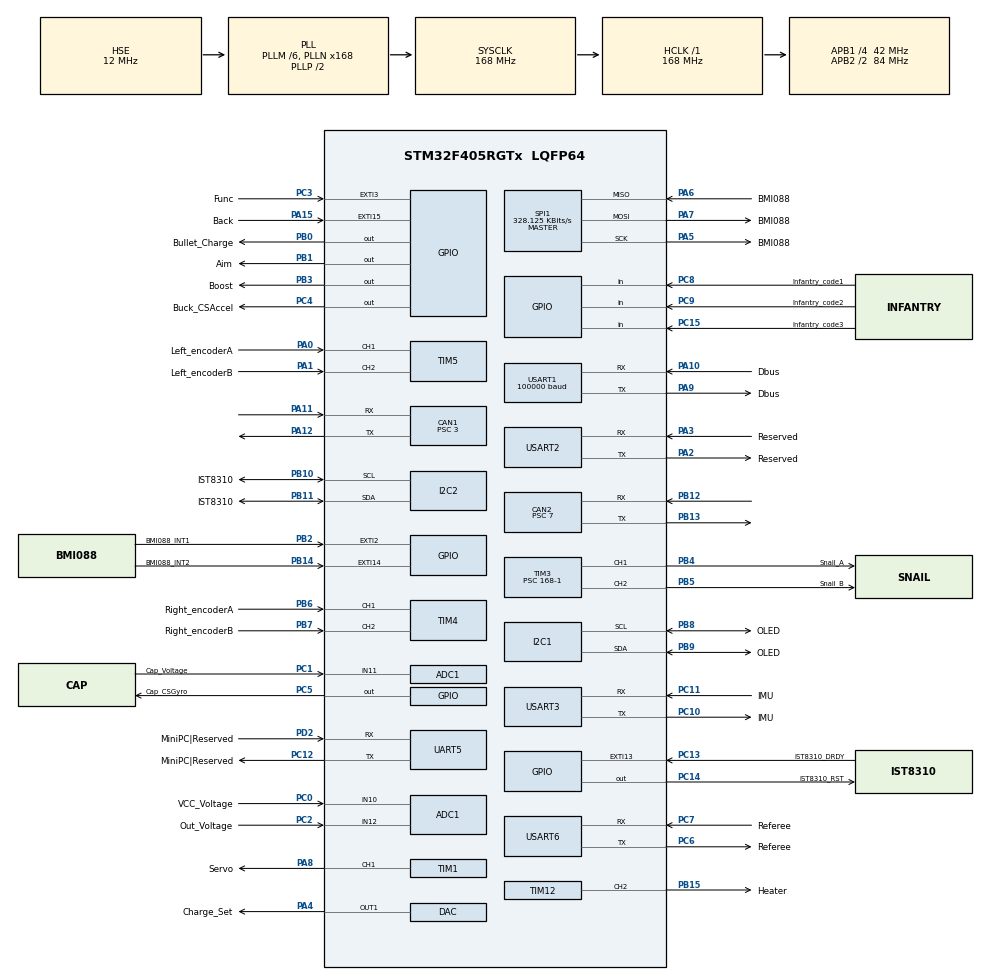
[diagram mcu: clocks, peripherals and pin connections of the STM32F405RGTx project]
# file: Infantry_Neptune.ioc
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ADC1.Channel-2\#ChannelRegularConversion=ADC_CHANNEL_10
ADC1.Channel-3\#ChannelRegularConversion=ADC_CHANNEL_11
ADC1.Channel-4\#ChannelRegularConversion=ADC_CHANNEL_12
ADC1.ContinuousConvMode=ENABLE
ADC1.DMAContinuousRequests=ENABLE
ADC1.DiscontinuousConvMode=DISABLE
ADC1.EOCSelection=ADC_EOC_SEQ_CONV
ADC1.InjNumberOfConversion=0
ADC1.NbrOfConversion=3
ADC1.NbrOfConversionFlag=1
ADC1.Rank-2\#ChannelRegularConversion=1
ADC1.Rank-3\#ChannelRegularConversion=2
ADC1.Rank-4\#ChannelRegularConversion=3
ADC1.SamplingTime-2\#ChannelRegularConversion=ADC_SAMPLETIME_15CYCLES
ADC1.SamplingTime-3\#ChannelRegularConversion=ADC_SAMPLETIME_15CYCLES
ADC1.SamplingTime-4\#ChannelRegularConversion=ADC_SAMPLETIME_15CYCLES
ADC1.ScanConvMode=ENABLE
ADC1.master=1
CAN1.BS1=CAN_BS1_9TQ
CAN1.BS2=CAN_BS2_4TQ
CAN1.CalculateBaudRate=1000000
CAN1.CalculateTimeBit=999.99
CAN1.CalculateTimeQuantum=71.42857142857143
CAN1.Prescaler=3
CAN2.BS1=CAN_BS1_3TQ
CAN2.BS2=CAN_BS2_2TQ
CAN2.CalculateBaudRate=1000000
CAN2.CalculateTimeBit=999.99
CAN2.CalculateTimeQuantum=166.66666666666669
CAN2.Prescaler=7
Dma.ADC1.4.Direction=DMA_PERIPH_TO_MEMORY
Dma.ADC1.4.FIFOMode=DMA_FIFOMODE_DISABLE
Dma.ADC1.4.Instance=DMA2_Stream4
Dma.ADC1.4.MemDataAlignment=DMA_MDATAALIGN_WORD
Dma.ADC1.4.MemInc=DMA_MINC_ENABLE
Dma.ADC1.4.Mode=DMA_NORMAL
Dma.ADC1.4.PeriphDataAlignment=DMA_PDATAALIGN_WORD
Dma.ADC1.4.PeriphInc=DMA_PINC_DISABLE
Dma.ADC1.4.Priority=DMA_PRIORITY_LOW
Dma.Request0=USART1_RX
Dma.Request1=USART2_RX
Dma.Request2=USART3_RX
Dma.Request3=USART6_RX
Dma.Request4=ADC1
Dma.Request5=SPI1_RX
Dma.Request6=SPI1_TX
Dma.Request7=UART5_RX
Dma.SPI1_RX.5.Direction=DMA_PERIPH_TO_MEMORY
Dma.SPI1_RX.5.FIFOMode=DMA_FIFOMODE_DISABLE
Dma.SPI1_RX.5.Instance=DMA2_Stream0
Dma.SPI1_RX.5.MemDataAlignment=DMA_MDATAALIGN_BYTE
Dma.SPI1_RX.5.MemInc=DMA_MINC_ENABLE
Dma.SPI1_RX.5.Mode=DMA_NORMAL
Dma.SPI1_RX.5.PeriphDataAlignment=DMA_PDATAALIGN_BYTE
Dma.SPI1_RX.5.PeriphInc=DMA_PINC_DISABLE
Dma.SPI1_RX.5.Priority=DMA_PRIORITY_VERY_HIGH
Dma.SPI1_TX.6.Direction=DMA_MEMORY_TO_PERIPH
Dma.SPI1_TX.6.FIFOMode=DMA_FIFOMODE_DISABLE
Dma.SPI1_TX.6.Instance=DMA2_Stream3
Dma.SPI1_TX.6.MemDataAlignment=DMA_MDATAALIGN_BYTE
Dma.SPI1_TX.6.MemInc=DMA_MINC_ENABLE
Dma.SPI1_TX.6.Mode=DMA_NORMAL
Dma.SPI1_TX.6.PeriphDataAlignment=DMA_PDATAALIGN_BYTE
Dma.SPI1_TX.6.PeriphInc=DMA_PINC_DISABLE
Dma.SPI1_TX.6.Priority=DMA_PRIORITY_LOW
Dma.UART5_RX.7.Direction=DMA_PERIPH_TO_MEMORY
Dma.UART5_RX.7.FIFOMode=DMA_FIFOMODE_DISABLE
Dma.UART5_RX.7.Instance=DMA1_Stream0
Dma.UART5_RX.7.MemDataAlignment=DMA_MDATAALIGN_BYTE
Dma.UART5_RX.7.MemInc=DMA_MINC_ENABLE
Dma.UART5_RX.7.Mode=DMA_CIRCULAR
Dma.UART5_RX.7.PeriphDataAlignment=DMA_PDATAALIGN_BYTE
Dma.UART5_RX.7.PeriphInc=DMA_PINC_DISABLE
Dma.UART5_RX.7.Priority=DMA_PRIORITY_LOW
Dma.USART1_RX.0.Direction=DMA_PERIPH_TO_MEMORY
Dma.USART1_RX.0.FIFOMode=DMA_FIFOMODE_DISABLE
Dma.USART1_RX.0.Instance=DMA2_Stream2
Dma.USART1_RX.0.MemDataAlignment=DMA_MDATAALIGN_BYTE
Dma.USART1_RX.0.MemInc=DMA_MINC_ENABLE
Dma.USART1_RX.0.Mode=DMA_CIRCULAR
Dma.USART1_RX.0.PeriphDataAlignment=DMA_PDATAALIGN_BYTE
Dma.USART1_RX.0.PeriphInc=DMA_PINC_DISABLE
Dma.USART1_RX.0.Priority=DMA_PRIORITY_LOW
Dma.USART2_RX.1.Direction=DMA_PERIPH_TO_MEMORY
Dma.USART2_RX.1.FIFOMode=DMA_FIFOMODE_DISABLE
Dma.USART2_RX.1.Instance=DMA1_Stream5
Dma.USART2_RX.1.MemDataAlignment=DMA_MDATAALIGN_BYTE
Dma.USART2_RX.1.MemInc=DMA_MINC_ENABLE
Dma.USART2_RX.1.Mode=DMA_CIRCULAR
Dma.USART2_RX.1.PeriphDataAlignment=DMA_PDATAALIGN_BYTE
Dma.USART2_RX.1.PeriphInc=DMA_PINC_DISABLE
Dma.USART2_RX.1.Priority=DMA_PRIORITY_LOW
Dma.USART3_RX.2.Direction=DMA_PERIPH_TO_MEMORY
Dma.USART3_RX.2.FIFOMode=DMA_FIFOMODE_DISABLE
Dma.USART3_RX.2.Instance=DMA1_Stream1
Dma.USART3_RX.2.MemDataAlignment=DMA_MDATAALIGN_BYTE
Dma.USART3_RX.2.MemInc=DMA_MINC_ENABLE
Dma.USART3_RX.2.Mode=DMA_CIRCULAR
Dma.USART3_RX.2.PeriphDataAlignment=DMA_PDATAALIGN_BYTE
Dma.USART3_RX.2.PeriphInc=DMA_PINC_DISABLE
Dma.USART3_RX.2.Priority=DMA_PRIORITY_LOW
Dma.USART6_RX.3.Direction=DMA_PERIPH_TO_MEMORY
Dma.USART6_RX.3.FIFOMode=DMA_FIFOMODE_DISABLE
Dma.USART6_RX.3.Instance=DMA2_Stream1
Dma.USART6_RX.3.MemDataAlignment=DMA_MDATAALIGN_BYTE
Dma.USART6_RX.3.MemInc=DMA_MINC_ENABLE
Dma.USART6_RX.3.Mode=DMA_CIRCULAR
Dma.USART6_RX.3.PeriphDataAlignment=DMA_PDATAALIGN_BYTE
Dma.USART6_RX.3.PeriphInc=DMA_PINC_DISABLE
Dma.USART6_RX.3.Priority=DMA_PRIORITY_LOW
FREERTOS.INCLUDE_eTaskGetState=1
FREERTOS.INCLUDE_pcTaskGetTaskName=1
FREERTOS.INCLUDE_uxTaskGetStackHighWaterMark=1
FREERTOS.INCLUDE_uxTaskGetStackHighWaterMark2=1
FREERTOS.INCLUDE_vTaskCleanUpResources=1
FREERTOS.INCLUDE_vTaskDelayUntil=1
FREERTOS.INCLUDE_xQueueGetMutexHolder=1
FREERTOS.INCLUDE_xSemaphoreGetMutexHolder=1
FREERTOS.INCLUDE_xTaskAbortDelay=1
FREERTOS.INCLUDE_xTaskGetCurrentTaskHandle=1
FREERTOS.INCLUDE_xTaskGetHandle=1
FREERTOS.Queues01=Key_Queue,16,uint16_t,0,Dynamic,NULL,NULL
FREERTOS.Tasks01=defaultTask,-3,128,StartDefaultTask,Default,NULL,Dynamic,NULL,NULL;Gimbal,2,128,Gimbal_Task,As weak,NULL,Dynamic,NULL,NULL;BusComm,3,128,BusComm_Task,As weak,NULL,Dynamic,NULL,NULL;Chassis,2,128,Chassis_Task,As weak,NULL,Dynamic,NULL,NULL;SuperCap,2,128,SuperCap_Task,As weak,NULL,Dynamic,NULL,NULL;Shoot,2,128,Shoot_Task,As weak,NULL,Dynamic,NULL,NULL;MiniPC,0,128,MiniPC_Task,As weak,NULL,Dynamic,NULL,NULL;Referee,2,128,Referee_Task,As weak,NULL,Dynamic,NULL,NULL;WatchDog,0,128,WatchDog_Task,As weak,NULL,Dynamic,NULL,NULL;Client,0,128,Client_Task,As weak,NULL,Dynamic,NULL,NULL;Ins,0,128,Ins_Task,As weak,NULL,Dynamic,NULL,NULL;Init,3,128,Init_Task,As weak,NULL,Dynamic,NULL,NULL
FREERTOS.configENABLE_FPU=1
I2C1.I2C_Mode=I2C_Fast
I2C2.I2C_Mode=I2C_Fast
Mcu.Family=STM32F4
Mcu.Name=STM32F405RGTx
Mcu.Package=LQFP64
NVIC.CAN1_RX0_IRQn=true\:5\:0\:false\:false\:true\:true\:true\:true
NVIC.CAN2_RX0_IRQn=true\:5\:0\:false\:false\:true\:true\:true\:true
NVIC.DMA1_Stream0_IRQn=true\:5\:0\:false\:false\:true\:true\:false\:true
NVIC.DMA1_Stream1_IRQn=true\:5\:0\:false\:false\:true\:true\:false\:true
NVIC.DMA1_Stream5_IRQn=true\:5\:0\:false\:false\:true\:true\:false\:true
NVIC.DMA2_Stream0_IRQn=true\:5\:0\:false\:false\:true\:true\:false\:true
NVIC.DMA2_Stream1_IRQn=true\:5\:0\:false\:false\:true\:true\:false\:true
NVIC.DMA2_Stream2_IRQn=true\:5\:0\:false\:false\:true\:true\:false\:true
NVIC.DMA2_Stream3_IRQn=true\:5\:0\:false\:false\:true\:true\:false\:true
NVIC.DMA2_Stream4_IRQn=true\:5\:0\:false\:false\:true\:true\:false\:true
NVIC.EXTI15_10_IRQn=true\:5\:0\:false\:false\:true\:true\:true\:true
NVIC.EXTI2_IRQn=true\:5\:0\:false\:false\:true\:true\:true\:true
NVIC.EXTI3_IRQn=true\:5\:0\:false\:false\:true\:true\:true\:true
NVIC.PriorityGroup=NVIC_PRIORITYGROUP_4
NVIC.TIM7_IRQn=true\:0\:0\:false\:false\:true\:false\:false\:true
NVIC.TimeBase=TIM7_IRQn
NVIC.TimeBaseIP=TIM7
NVIC.UART5_IRQn=true\:5\:0\:false\:false\:true\:true\:true\:true
NVIC.USART1_IRQn=true\:5\:0\:false\:false\:true\:true\:true\:true
NVIC.USART2_IRQn=true\:5\:0\:false\:false\:true\:true\:true\:true
NVIC.USART3_IRQn=true\:5\:0\:false\:false\:true\:true\:true\:true
NVIC.USART6_IRQn=true\:5\:0\:false\:false\:true\:true\:true\:true
PA0-WKUP.GPIO_Label=Left_encoderA
PA0-WKUP.Signal=S_TIM5_CH1
PA1.GPIO_Label=Left_encoderB
PA1.Signal=S_TIM5_CH2
PA10.GPIO_Label=Dbus
PA10.Mode=Asynchronous
PA10.Signal=USART1_RX
PA11.Mode=CAN_Activate
PA11.Signal=CAN1_RX
PA12.Mode=CAN_Activate
PA12.Signal=CAN1_TX
PA13.Mode=Serial_Wire
PA13.Signal=SYS_JTMS-SWDIO
PA14.Mode=Serial_Wire
PA14.Signal=SYS_JTCK-SWCLK
PA15.GPIO_Label=Back
PA15.GPIO_ModeDefaultEXTI=GPIO_MODE_IT_RISING_FALLING
PA15.GPIO_PuPd=GPIO_NOPULL
PA15.Signal=GPXTI15
PA2.GPIO_Label=Reserved
PA2.Mode=Asynchronous
PA2.Signal=USART2_TX
PA3.GPIO_Label=Reserved
PA3.Mode=Asynchronous
PA3.Signal=USART2_RX
PA4.GPIO_Label=Charge_Set
PA4.Signal=COMP_DAC1_group
PA5.GPIO_Label=BMI088
PA5.GPIO_PuPd=GPIO_PULLUP
PA5.Mode=Full_Duplex_Master
PA5.Signal=SPI1_SCK
PA6.GPIO_Label=BMI088
PA6.GPIO_PuPd=GPIO_PULLUP
PA6.Mode=Full_Duplex_Master
PA6.Signal=SPI1_MISO
PA7.GPIO_Label=BMI088
PA7.GPIO_PuPd=GPIO_PULLUP
PA7.Mode=Full_Duplex_Master
PA7.Signal=SPI1_MOSI
PA8.GPIO_Label=Servo
PA8.Signal=S_TIM1_CH1
PA9.GPIO_Label=Dbus
PA9.Mode=Asynchronous
PA9.Signal=USART1_TX
PB0.GPIO_Label=Bullet_Charge
PB0.GPIO_Speed=GPIO_SPEED_FREQ_LOW
PB0.PinState=GPIO_PIN_RESET
PB0.Signal=GPIO_Output
PB1.GPIO_Label=Aim
PB1.Signal=GPIO_Output
PB10.GPIO_Label=IST8310
PB10.Mode=I2C
PB10.Signal=I2C2_SCL
PB11.GPIO_Label=IST8310
PB11.Mode=I2C
PB11.Signal=I2C2_SDA
PB12.Mode=CAN_Activate
PB12.Signal=CAN2_RX
PB13.Mode=CAN_Activate
PB13.Signal=CAN2_TX
PB14.GPIO_Label=BMI088_INT2
PB14.GPIO_ModeDefaultEXTI=GPIO_MODE_IT_RISING
PB14.Signal=GPXTI14
PB15.GPIO_Label=Heater
PB15.Signal=S_TIM12_CH2
PB2.GPIO_Label=BMI088_INT1
PB2.Signal=GPXTI2
PB3.GPIO_Label=Boost
PB3.Signal=GPIO_Output
PB4.GPIO_Label=Snail_A
PB4.Signal=S_TIM3_CH1
PB5.GPIO_Label=Snail_B
PB5.Signal=S_TIM3_CH2
PB6.GPIO_Label=Right_encoderA
PB6.Signal=S_TIM4_CH1
PB7.GPIO_Label=Right_encoderB
PB7.Signal=S_TIM4_CH2
PB8.GPIO_Label=OLED
PB8.Mode=I2C
PB8.Signal=I2C1_SCL
PB9.GPIO_Label=OLED
PB9.Mode=I2C
PB9.Signal=I2C1_SDA
PC0.GPIO_Label=VCC_Voltage
PC0.Signal=ADCx_IN10
PC1.GPIO_Label=Cap_Voltage
PC1.Signal=ADCx_IN11
PC10.GPIO_Label=IMU
PC10.Mode=Asynchronous
PC10.Signal=USART3_TX
PC11.GPIO_Label=IMU
PC11.Mode=Asynchronous
PC11.Signal=USART3_RX
PC12.GPIO_Label=MiniPC|Reserved
PC12.Mode=Asynchronous
PC12.Signal=UART5_TX
PC13-ANTI_TAMP.GPIO_Label=IST8310_DRDY
PC13-ANTI_TAMP.GPIO_ModeDefaultEXTI=GPIO_MODE_IT_FALLING
PC13-ANTI_TAMP.GPIO_PuPd=GPIO_PULLUP
PC13-ANTI_TAMP.Signal=GPXTI13
PC14-OSC32_IN.GPIO_Label=IST8310_RST
PC14-OSC32_IN.GPIO_PuPd=GPIO_NOPULL
PC14-OSC32_IN.PinState=GPIO_PIN_RESET
PC14-OSC32_IN.Signal=GPIO_Output
PC15-OSC32_OUT.GPIO_Label=Infantry_code3
PC15-OSC32_OUT.GPIO_PuPd=GPIO_PULLUP
PC15-OSC32_OUT.Signal=GPIO_Input
PC2.GPIO_Label=Out_Voltage
PC2.Signal=ADCx_IN12
PC3.GPIO_Label=Func
PC3.GPIO_ModeDefaultEXTI=GPIO_MODE_IT_RISING_FALLING
PC3.Signal=GPXTI3
PC4.GPIO_Label=Buck_CSAccel
PC4.Signal=GPIO_Output
PC5.GPIO_Label=Cap_CSGyro
PC5.Signal=GPIO_Output
PC6.GPIO_Label=Referee
PC6.Mode=Asynchronous
PC6.Signal=USART6_TX
PC7.GPIO_Label=Referee
PC7.Mode=Asynchronous
PC7.Signal=USART6_RX
PC8.GPIO_Label=Infantry_code1
PC8.GPIO_PuPd=GPIO_PULLUP
PC8.Signal=GPIO_Input
PC9.GPIO_Label=Infantry_code2
PC9.GPIO_PuPd=GPIO_PULLUP
PC9.Signal=GPIO_Input
PD2.GPIO_Label=MiniPC|Reserved
PD2.Mode=Asynchronous
PD2.Signal=UART5_RX
PH0-OSC_IN.Mode=HSE-External-Oscillator
PH0-OSC_IN.Signal=RCC_OSC_IN
PH1-OSC_OUT.Mode=HSE-External-Oscillator
PH1-OSC_OUT.Signal=RCC_OSC_OUT
ProjectManager.HeapSize=0x1000
ProjectManager.StackSize=0x8000
ProjectManager.TargetToolchain=MDK-ARM V5.27
RCC.48MHZClocksFreq_Value=84000000
RCC.AHBFreq_Value=168000000
RCC.APB1CLKDivider=RCC_HCLK_DIV4
RCC.APB1Freq_Value=42000000
RCC.APB1TimFreq_Value=84000000
RCC.APB2CLKDivider=RCC_HCLK_DIV2
RCC.APB2Freq_Value=84000000
RCC.APB2TimFreq_Value=168000000
RCC.CortexFreq_Value=168000000
RCC.HCLKFreq_Value=168000000
RCC.HSE_VALUE=12000000
RCC.HSI_VALUE=16000000
RCC.LSE_VALUE=32768
RCC.PLLM=6
RCC.PLLN=168
RCC.PLLSourceVirtual=RCC_PLLSOURCE_HSE
RCC.SYSCLKFreq_VALUE=168000000
RCC.SYSCLKSource=RCC_SYSCLKSOURCE_PLLCLK
RCC.VCOOutputFreq_Value=336000000
SH.ADCx_IN10.0=ADC1_IN10,IN10
SH.ADCx_IN11.0=ADC1_IN11,IN11
SH.ADCx_IN12.0=ADC1_IN12,IN12
SH.COMP_DAC1_group.0=DAC_OUT1,DAC_OUT1
SH.S_TIM12_CH2.0=TIM12_CH2,PWM Generation2 CH2
SH.S_TIM1_CH1.0=TIM1_CH1,PWM Generation1 CH1
SH.S_TIM3_CH1.0=TIM3_CH1,PWM Generation1 CH1
SH.S_TIM3_CH2.0=TIM3_CH2,PWM Generation2 CH2
SH.S_TIM4_CH1.0=TIM4_CH1,Encoder_Interface
SH.S_TIM4_CH2.0=TIM4_CH2,Encoder_Interface
SH.S_TIM5_CH1.0=TIM5_CH1,Encoder_Interface
SH.S_TIM5_CH2.0=TIM5_CH2,Encoder_Interface
SPI1.BaudRatePrescaler=SPI_BAUDRATEPRESCALER_256
SPI1.CLKPhase=SPI_PHASE_2EDGE
SPI1.CLKPolarity=SPI_POLARITY_HIGH
SPI1.CalculateBaudRate=328.125 KBits/s
SPI1.Direction=SPI_DIRECTION_2LINES
SPI1.Mode=SPI_MODE_MASTER
SPI1.VirtualType=VM_MASTER
TIM1.Channel-PWM\ Generation1\ CH1=TIM_CHANNEL_1
TIM12.Channel-PWM\ Generation2\ CH2=TIM_CHANNEL_2
TIM3.Channel-PWM\ Generation1\ CH1=TIM_CHANNEL_1
TIM3.Channel-PWM\ Generation2\ CH2=TIM_CHANNEL_2
TIM3.Period=2000-1
TIM3.Prescaler=168-1
TIM4.EncoderMode=TIM_ENCODERMODE_TI12
TIM4.IC1Filter=5
TIM4.IC2Filter=5
TIM5.EncoderMode=TIM_ENCODERMODE_TI12
TIM5.IC1Filter=5
TIM5.IC2Filter=5
UART5.VirtualMode=Asynchronous
USART1.BaudRate=100000
USART1.Parity=PARITY_EVEN
USART1.VirtualMode=VM_ASYNC
USART2.Parity=PARITY_ODD
USART2.VirtualMode=VM_ASYNC
USART3.VirtualMode=VM_ASYNC
USART6.VirtualMode=VM_ASYNC
VP_FREERTOS_VS_CMSIS_V1.Mode=CMSIS_V1
VP_SYS_VS_tim7.Mode=TIM7
VP_TIM10_VS_ClockSourceINT.Mode=Enable_Timer
VP_TIM11_VS_ClockSourceINT.Mode=Enable_Timer
VP_TIM12_VS_ClockSourceINT.Mode=Internal
VP_TIM1_VS_ClockSourceINT.Mode=Internal
VP_TIM2_VS_ClockSourceINT.Mode=Internal
VP_TIM3_VS_ClockSourceINT.Mode=Internal
VP_TIM6_VS_ClockSourceINT.Mode=Enable_Timer
VP_TIM8_VS_ClockSourceINT.Mode=Internal
VP_TIM9_VS_ClockSourceINT.Mode=Internal
board=custom

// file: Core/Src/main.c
/* USER CODE BEGIN Header */
/**
 ******************************************************************************
 * @file           : main.c
 * @brief          : Main program body
 ******************************************************************************
 * @attention
 *
 * <h2><center>&copy; Copyright (c) 2021 STMicroelectronics.
 * All rights reserved.</center></h2>
 *
 * This software component is licensed by ST under Ultimate Liberty license
 * SLA0044, the "License"; You may not use this file except in compliance with
 * the License. You may obtain a copy of the License at:
 *                             www.st.com/SLA0044
 *
 ******************************************************************************
 */
/* USER CODE END Header */
#include "main.h"
#include "cmsis_os.h"
#include "adc.h"
#include "can.h"
#include "dac.h"
#include "dma.h"
#include "i2c.h"
#include "spi.h"
#include "tim.h"
#include "usart.h"
#include "gpio.h"

/* USER CODE BEGIN Includes */
#include "init_ctrl.h"
/* USER CODE END Includes */

void SystemClock_Config(void);
void MX_FREERTOS_Init(void);

int main(void) {

    /* MCU Configuration--------------------------------------------------------*/

    /* Reset of all peripherals, Initializes the Flash interface and the Systick. */

    HAL_Init();

    /* Configure the system clock */
    SystemClock_Config();

    /* Initialize all configured peripherals */
    MX_GPIO_Init();
    MX_DMA_Init();
    MX_ADC1_Init();
    MX_CAN1_Init();
    MX_CAN2_Init();
    MX_DAC_Init();
    MX_I2C1_Init();
    MX_I2C2_Init();
    MX_SPI1_Init();
    MX_TIM1_Init();
    MX_TIM3_Init();
    MX_TIM4_Init();
    MX_TIM5_Init();
    MX_UART5_Init();
    MX_USART1_UART_Init();
    MX_USART2_UART_Init();
    MX_USART3_UART_Init();
    MX_USART6_UART_Init();
    MX_TIM2_Init();
    MX_TIM6_Init();
    MX_TIM8_Init();
    MX_TIM9_Init();
    MX_TIM10_Init();
    MX_TIM12_Init();
    MX_TIM11_Init();

    /* Call init function for freertos objects (in freertos.c) */
    MX_FREERTOS_Init();
    /* Start scheduler */
    osKernelStart();

    /* We should never get here as control is now taken by the scheduler */
    /* Infinite loop */
    while (1) {

    }
}

void SystemClock_Config(void) {
    RCC_OscInitTypeDef RCC_OscInitStruct = {0};
    RCC_ClkInitTypeDef RCC_ClkInitStruct = {0};

    /** Configure the main internal regulator output voltage
     */
    __HAL_RCC_PWR_CLK_ENABLE();
    __HAL_PWR_VOLTAGESCALING_CONFIG(PWR_REGULATOR_VOLTAGE_SCALE1);
    /** Initializes the RCC Oscillators according to the specified parameters
     * in the RCC_OscInitTypeDef structure.
     */
    RCC_OscInitStruct.OscillatorType = RCC_OSCILLATORTYPE_HSE;
    RCC_OscInitStruct.HSEState = RCC_HSE_ON;
    RCC_OscInitStruct.PLL.PLLState = RCC_PLL_ON;
    RCC_OscInitStruct.PLL.PLLSource = RCC_PLLSOURCE_HSE;
    RCC_OscInitStruct.PLL.PLLM = 6;
    RCC_OscInitStruct.PLL.PLLN = 168;
    RCC_OscInitStruct.PLL.PLLP = RCC_PLLP_DIV2;
    RCC_OscInitStruct.PLL.PLLQ = 4;
    if (HAL_RCC_OscConfig(&RCC_OscInitStruct) != HAL_OK) {
        Error_Handler();
    }
    /** Initializes the CPU, AHB and APB buses clocks
     */
    RCC_ClkInitStruct.ClockType = RCC_CLOCKTYPE_HCLK | RCC_CLOCKTYPE_SYSCLK | RCC_CLOCKTYPE_PCLK1 | RCC_CLOCKTYPE_PCLK2;
    RCC_ClkInitStruct.SYSCLKSource = RCC_SYSCLKSOURCE_PLLCLK;
    RCC_ClkInitStruct.AHBCLKDivider = RCC_SYSCLK_DIV1;
    RCC_ClkInitStruct.APB1CLKDivider = RCC_HCLK_DIV4;
    RCC_ClkInitStruct.APB2CLKDivider = RCC_HCLK_DIV2;

    if (HAL_RCC_ClockConfig(&RCC_ClkInitStruct, FLASH_LATENCY_5) != HAL_OK) {
        Error_Handler();
    }
}

void HAL_TIM_PeriodElapsedCallback(TIM_HandleTypeDef* htim) {
    if (htim->Instance == TIM7) {
        HAL_IncTick();
    }
}

void Error_Handler(void) {
    __disable_irq();
    while (1) {
    }
}

/************************ (C) COPYRIGHT STMicroelectronics *****END OF FILE****/

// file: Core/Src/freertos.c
/*
 * @Project      : RM_Infantry_Neptune_frame
 * @FilePath     : \infantry_-neptune\Core\Src\freertos.c
 * @Descripttion :
 * @Author       : GDDG08
 * @Date         : 2021-10-31 17:14:29
 * @LastEditors  : GDDG08
 * @LastEditTime : 2022-03-23 21:29:28
 */
/* USER CODE BEGIN Header */
/**
 ******************************************************************************
 * File Name          : freertos.c
 * Description        : Code for freertos applications
 ******************************************************************************
 * @attention
 *
 * <h2><center>&copy; Copyright (c) 2021 STMicroelectronics.
 * All rights reserved.</center></h2>
 *
 * This software component is licensed by ST under Ultimate Liberty license
 * SLA0044, the "License"; You may not use this file except in compliance with
 * the License. You may obtain a copy of the License at:
 *                             www.st.com/SLA0044
 *
 ******************************************************************************
 */
/* USER CODE END Header */

#include "FreeRTOS.h"
#include "task.h"
#include "main.h"
#include "cmsis_os.h"

/* USER CODE BEGIN Includes */
#include "gim_ins_ctrl.h"
#include "buscomm_ctrl.h"
#include "gim_remote_ctrl.h"
#include "cha_chassis_ctrl.h"
#include "supercap_ctrl.h"
#include "gim_shoot_ctrl.h"
#include "gim_miniPC_ctrl.h"
#include "cha_referee_ctrl.h"
#include "watchdog_ctrl.h"
#include "cha_gimbal_ctrl.h"
/* USER CODE END Includes */

osThreadId defaultTaskHandle;
osThreadId GimbalHandle;
osThreadId BusCommHandle;
osThreadId ChassisHandle;
osThreadId SuperCapHandle;
osThreadId ShootHandle;
osThreadId MiniPCHandle;
osThreadId RefereeHandle;
osThreadId WatchDogHandle;
osThreadId ClientHandle;
osThreadId InsHandle;
osThreadId InitHandle;
osMessageQId Key_QueueHandle;

void StartDefaultTask(void const* argument);
void Gimbal_Task(void const* argument);
void BusComm_Task(void const* argument);
void Chassis_Task(void const* argument);
void SuperCap_Task(void const* argument);
void Shoot_Task(void const* argument);
void MiniPC_Task(void const* argument);
void Referee_Task(void const* argument);
void WatchDog_Task(void const* argument);
void Client_Task(void const* argument);
void Ins_Task(void const* argument);
void Init_Task(void const* argument);

void MX_FREERTOS_Init(void); /* (MISRA C 2004 rule 8.1) */

/* GetIdleTaskMemory prototype (linked to static allocation support) */
void vApplicationGetIdleTaskMemory(StaticTask_t** ppxIdleTaskTCBBuffer, StackType_t** ppxIdleTaskStackBuffer, uint32_t* pulIdleTaskStackSize);

/* USER CODE BEGIN GET_IDLE_TASK_MEMORY */
static StaticTask_t xIdleTaskTCBBuffer;
static StackType_t xIdleStack[configMINIMAL_STACK_SIZE];

void vApplicationGetIdleTaskMemory(StaticTask_t** ppxIdleTaskTCBBuffer, StackType_t** ppxIdleTaskStackBuffer, uint32_t* pulIdleTaskStackSize) {
    *ppxIdleTaskTCBBuffer = &xIdleTaskTCBBuffer;
    *ppxIdleTaskStackBuffer = &xIdleStack[0];
    *pulIdleTaskStackSize = configMINIMAL_STACK_SIZE;
    /* place for user code */
}
/* USER CODE END GET_IDLE_TASK_MEMORY */

void MX_FREERTOS_Init(void) {

    /* Create the queue(s) */
    /* definition and creation of Key_Queue */
    osMessageQDef(Key_Queue, 16, uint16_t);
    Key_QueueHandle = osMessageCreate(osMessageQ(Key_Queue), NULL);

    /* Create the thread(s) */
    /* definition and creation of defaultTask */
    osThreadDef(defaultTask, StartDefaultTask, osPriorityIdle, 0, 128);
    defaultTaskHandle = osThreadCreate(osThread(defaultTask), NULL);

    /* definition and creation of Gimbal */
    osThreadDef(Gimbal, Gimbal_Task, osPriorityHigh, 0, 128);
    GimbalHandle = osThreadCreate(osThread(Gimbal), NULL);

    /* definition and creation of BusComm */
    osThreadDef(BusComm, BusComm_Task, osPriorityRealtime, 0, 128);
    BusCommHandle = osThreadCreate(osThread(BusComm), NULL);

    /* definition and creation of Chassis */
    osThreadDef(Chassis, Chassis_Task, osPriorityHigh, 0, 128);
    ChassisHandle = osThreadCreate(osThread(Chassis), NULL);

    /* definition and creation of SuperCap */
    osThreadDef(SuperCap, SuperCap_Task, osPriorityHigh, 0, 128);
    SuperCapHandle = osThreadCreate(osThread(SuperCap), NULL);

    /* definition and creation of Shoot */
    osThreadDef(Shoot, Shoot_Task, osPriorityHigh, 0, 128);
    ShootHandle = osThreadCreate(osThread(Shoot), NULL);

    /* definition and creation of MiniPC */
    osThreadDef(MiniPC, MiniPC_Task, osPriorityNormal, 0, 128);
    MiniPCHandle = osThreadCreate(osThread(MiniPC), NULL);

    /* definition and creation of Referee */
    osThreadDef(Referee, Referee_Task, osPriorityHigh, 0, 128);
    RefereeHandle = osThreadCreate(osThread(Referee), NULL);

    /* definition and creation of WatchDog */
    osThreadDef(WatchDog, WatchDog_Task, osPriorityNormal, 0, 128);
    WatchDogHandle = osThreadCreate(osThread(WatchDog), NULL);

    /* definition and creation of Client */
    osThreadDef(Client, Client_Task, osPriorityNormal, 0, 128);
    ClientHandle = osThreadCreate(osThread(Client), NULL);

    /* definition and creation of Ins */
    osThreadDef(Ins, Ins_Task, osPriorityNormal, 0, 128);
    InsHandle = osThreadCreate(osThread(Ins), NULL);

    /* definition and creation of Init */
    osThreadDef(Init, Init_Task, osPriorityRealtime, 0, 128);
    InitHandle = osThreadCreate(osThread(Init), NULL);

}

void StartDefaultTask(void const* argument) {
    for (;;) {
        osDelay(1);
    }
}

__weak void Gimbal_Task(void const* argument) {
    /* USER CODE BEGIN Gimbal_Task */
    /* Infinite loop */
    for (;;) {
        TaskHandle_t GimbalTask_Handler = xTaskGetHandle(pcTaskGetName(NULL));
        vTaskDelete(GimbalTask_Handler);
        osDelay(1);
    }
    /* USER CODE END Gimbal_Task */
}

__weak void BusComm_Task(void const* argument) {
    for (;;) {
        osDelay(1);
    }
}

__weak void Chassis_Task(void const* argument) {
    /* USER CODE BEGIN Chassis_Task */
    /* Infinite loop */
    for (;;) {
        TaskHandle_t ChassisTask_Handler = xTaskGetHandle(pcTaskGetName(NULL));
        vTaskDelete(ChassisTask_Handler);
        osDelay(1);
    }
    /* USER CODE END Chassis_Task */
}

__weak void SuperCap_Task(void const* argument) {
    /* USER CODE BEGIN SuperCap_Task */
    /* Infinite loop */
    for (;;) {
        TaskHandle_t SuperCapTask_Handler = xTaskGetHandle(pcTaskGetName(NULL));
        vTaskDelete(SuperCapTask_Handler);
        osDelay(1);
    }
    /* USER CODE END SuperCap_Task */
}

__weak void Shoot_Task(void const* argument) {
    /* USER CODE BEGIN Shoot_Task */
    /* Infinite loop */
    for (;;) {
        TaskHandle_t ShootTask_Handler = xTaskGetHandle(pcTaskGetName(NULL));
        vTaskDelete(ShootTask_Handler);
        osDelay(1);
    }
    /* USER CODE END Shoot_Task */
}

__weak void MiniPC_Task(void const* argument) {
    /* USER CODE BEGIN MiniPC_Task */
    /* Infinite loop */
    for (;;) {
        TaskHandle_t MiniPCTask_Handler = xTaskGetHandle(pcTaskGetName(NULL));
        vTaskDelete(MiniPCTask_Handler);
        osDelay(1);
    }
    /* USER CODE END MiniPC_Task */
}

__weak void Referee_Task(void const* argument) {
    /* USER CODE BEGIN Referee_Task */
    /* Infinite loop */
    for (;;) {
        TaskHandle_t RefereeTask_Handler = xTaskGetHandle(pcTaskGetName(NULL));
        vTaskDelete(RefereeTask_Handler);
        osDelay(1);
    }
    /* USER CODE END Referee_Task */
}

__weak void WatchDog_Task(void const* argument) {
    for (;;) {
        osDelay(1);
    }
}

__weak void Client_Task(void const* argument) {
    /* USER CODE BEGIN Client_Task */
    /* Infinite loop */
    for (;;) {
        TaskHandle_t ClientTask_Handler = xTaskGetHandle(pcTaskGetName(NULL));
        vTaskDelete(ClientTask_Handler);
        osDelay(1);
    }
    /* USER CODE END Client_Task */
}

__weak void Ins_Task(void const* argument) {
    /* USER CODE BEGIN Ins_Task */
    /* Infinite loop */
    for (;;) {
        TaskHandle_t InsTask_Handler = xTaskGetHandle(pcTaskGetName(NULL));
        vTaskDelete(InsTask_Handler);
        osDelay(1);
    }
    /* USER CODE END Ins_Task */
}

__weak void Init_Task(void const* argument) {
    for (;;) {
        osDelay(1);
    }
}

/************************ (C) COPYRIGHT STMicroelectronics *****END OF FILE****/
